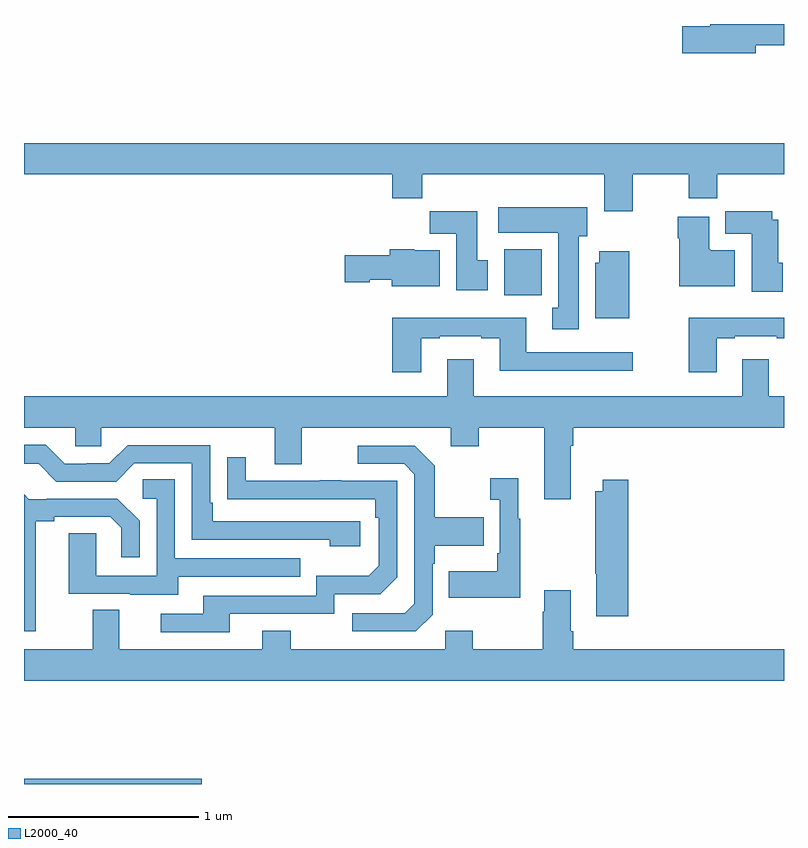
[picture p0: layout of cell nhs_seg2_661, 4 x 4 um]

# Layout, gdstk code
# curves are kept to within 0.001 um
import gdstk
lib = gdstk.Library(unit=1e-6, precision=1e-09)
def R(c, l, rs):  # rectangles x0, y0, x1, y1
    for r in rs: c.add(gdstk.rectangle(r[:2], r[2:], *l))
def P(c, l, *ps):  # polygons
    for p in ps: c.add(gdstk.Polygon(p, *l))
L2000_40 = (2000, 40)

nhs_seg2_661 = lib.new_cell('nhs_seg2_661')
R(nhs_seg2_661, L2000_40, [(145,605.8,145.936,605.828), (147.527,608.372,147.724,608.614)])
P(nhs_seg2_661, L2000_40, [(148.852,609.688),(149,609.688),(149,609.8),(148.613,609.8),(148.613,609.788),(148.464,609.788),(148.464,609.646),(148.852,609.646)],
  [(148.203,609.008),(148.498,609.008),(148.498,608.884),(148.649,608.884),(148.649,609.008),(149,609.008),(149,609.172),(145,609.172),(145,609.008),(146.939,609.008),(146.939,608.884),(147.095,608.884),(147.095,609.008),(148.055,609.008),(148.055,608.814),(148.203,608.814)],
  [(147.919,608.682),(147.964,608.682),(147.964,608.836),(147.495,608.836),(147.495,608.702),(147.812,608.702),(147.812,608.306),(147.779,608.306),(147.779,608.193),(147.919,608.193)],
  [(147.442,608.556),(147.385,608.556),(147.385,608.815),(147.136,608.815),(147.136,608.696),(147.275,608.696),(147.275,608.4),(147.442,608.4)],
  [(148.993,608.544),(148.969,608.544),(148.969,608.77),(148.939,608.77),(148.939,608.814),(148.691,608.814),(148.691,608.696),(148.829,608.696),(148.829,608.39),(148.993,608.39)],
  [(148.741,608.608),(148.612,608.608),(148.612,608.614),(148.606,608.614),(148.606,608.785),(148.441,608.785),(148.441,608.672),(148.448,608.672),(148.448,608.42),(148.741,608.42)],
  [(147.187,608.608),(147.054,608.608),(147.054,608.614),(146.924,608.614),(146.924,608.583),(146.688,608.583),(146.688,608.441),(146.82,608.441),(146.82,608.453),(146.936,608.453),(146.936,608.42),(147.187,608.42)],
  [(148.186,608.605),(148.028,608.605),(148.028,608.544),(148.007,608.544),(148.007,608.252),(148.186,608.252)],
  [(147.091,608.145),(147.187,608.145),(147.187,608.157),(147.407,608.157),(147.407,608.145),(147.503,608.145),(147.503,607.976),(148.204,607.976),(148.204,608.073),(147.643,608.073),(147.643,608.254),(146.939,608.254),(146.939,607.968),(147.091,607.968)],
  [(148.645,608.145),(148.741,608.145),(148.741,608.157),(148.961,608.157),(148.961,608.145),(149,608.145),(149,608.254),(148.498,608.254),(148.498,607.968),(148.645,607.968)],
  [(147.877,607.58),(147.89,607.58),(147.89,607.676),(149,607.676),(149,607.84),(148.921,607.84),(148.921,608.035),(148.781,608.035),(148.781,607.84),(147.367,607.84),(147.367,608.035),(147.227,608.035),(147.227,607.84),(145,607.84),(145,607.676),(145.269,607.676),(145.269,607.578),(145.407,607.578),(145.407,607.676),(146.321,607.676),(146.321,607.482),(146.461,607.482),(146.461,607.676),(147.245,607.676),(147.245,607.577),(147.393,607.577),(147.393,607.676),(147.737,607.676),(147.737,607.299),(147.877,607.299)],
  [(146.77,607.182),(145.993,607.182),(145.993,607.279),(145.98,607.279),(145.98,607.584),(145.545,607.584),(145.449,607.488),(145.331,607.488),(145.331,607.485),(145.215,607.485),(145.115,607.585),(145,607.585),(145,607.485),(145.077,607.485),(145.17,607.392),(145.485,607.392),(145.581,607.488),(145.884,607.488),(145.884,607.086),(146.609,607.086),(146.609,607.052),(146.77,607.052)],
  [(147.15,606.69),(147.15,606.959),(147.163,606.959),(147.163,607.055),(147.419,607.055),(147.419,607.203),(147.163,607.203),(147.163,607.475),(147.057,607.581),(146.757,607.581),(146.757,607.485),(147,607.485),(147.054,607.431),(147.054,606.75),(147.003,606.699),(146.727,606.699),(146.727,606.603),(147.063,606.603)],
  [(146.083,606.696),(146.634,606.696),(146.634,606.798),(146.874,606.798),(146.964,606.888),(146.964,607.395),(146.669,607.395),(146.669,607.4),(146.557,607.4),(146.557,607.395),(146.167,607.395),(146.167,607.519),(146.071,607.519),(146.071,607.3),(146.848,607.299),(146.848,607.202),(146.868,607.202),(146.868,606.948),(146.815,606.895),(146.538,606.895),(146.538,606.792),(145.943,606.792),(145.943,606.696),(145.719,606.696),(145.719,606.6),(146.083,606.6)],
  [(147.613,607.195),(147.601,607.195),(147.601,607.408),(147.453,607.408),(147.453,607.295),(147.504,607.295),(147.504,607.015),(147.492,607.015),(147.492,606.919),(147.235,606.919),(147.235,606.779),(147.613,606.779)],
  [(145.813,606.891),(146.453,606.891),(146.453,606.987),(145.794,606.987),(145.794,607.403),(145.626,607.403),(145.626,607.302),(145.698,607.302),(145.698,606.897),(145.38,606.897),(145.38,607.121),(145.235,607.121),(145.235,606.801),(145.559,606.801),(145.559,606.797),(145.813,606.797)],
  [(148.181,607.402),(148.046,607.402),(148.046,607.342),(148.006,607.342),(148.006,606.907),(148.013,606.907),(148.013,606.684),(148.181,606.684)],
  [(145.063,607.184),(145.159,607.184),(145.159,607.206),(145.454,607.206),(145.511,607.149),(145.511,606.993),(145.608,606.993),(145.608,607.186),(145.492,607.302),(145.12,607.302),(145.12,607.299),(145.026,607.299),(145,607.325),(145,606.603),(145.063,606.603)],
  [(149,606.508),(147.89,606.508),(147.89,606.604),(147.877,606.604),(147.877,606.82),(147.737,606.82),(147.737,606.707),(147.73,606.707),(147.73,606.508),(147.363,606.508),(147.363,606.607),(147.216,606.607),(147.216,606.508),(146.403,606.508),(146.403,606.607),(146.255,606.607),(146.255,606.508),(145.501,606.508),(145.501,606.716),(145.361,606.716),(145.361,606.508),(145,606.508),(145,606.344),(149,606.344)])

lib.write_gds('nhs_seg2_661.gds')
